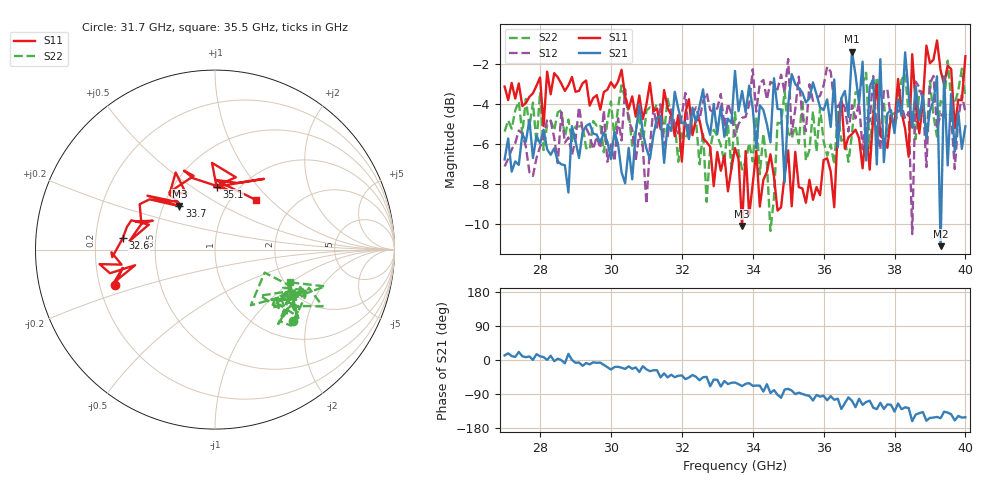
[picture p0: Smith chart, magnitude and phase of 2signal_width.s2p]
! Quiescent point : V1=-1.85712E-02 I1=+1.45512E-03 V2=-2.43790E-02 I2=-1.40423E-03
! Pulsed point : V1=-1.80026E-02 I1=+1.44484E-03 V2=-2.38785E-02 I2=-1.42689E-03
! Period : +2.00000E-04
! Input Supply timing : delay=+1.60000E-06 width=+2.20000E-06
! Output Supply timing : delay=+1.70000E-06 width=+2.00000E-06
! VNA timing : delay=+2.40000E-06 width=+1.10000E-06
# Hz S RI R 50
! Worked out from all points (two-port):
!   131 points, 27 GHz to 40 GHz, reference 50 ohm
!   highest |S21| = -1.39 dB at 36.8 GHz (marker M1); lowest = -11.1 dB at 39.3 GHz (marker M2)
!   |S21| within 3 dB of the highest: 34.99 GHz to 36.14 GHz (1.154 GHz wide, 3.24 % of centre); 36.71 GHz to 37.15 GHz (442.8 MHz wide, 1.2 % of centre)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
!   lowest |S11| = -10.1 dB at 33.7 GHz (marker M3), VSWR 1.91, Z = 30.1 + j16.2 ohm
!   |S11| at or under -10 dB: 33.69771 GHz to 33.70204 GHz (4.33 MHz wide, 0.0128 % of centre)
!   |S22| runs from -10.3 to -1.9 dB; largest |S21 - S12| = 0.38
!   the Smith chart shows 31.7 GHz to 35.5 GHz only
!   S11 on the Smith chart (normalised r, x): 31.7 GHz: 0.26, -0.16; 32.6 GHz: 0.32, +0.05; 33.7 GHz: 0.60, +0.32; 35.1 GHz: 0.79, +0.63; 35.5 GHz: 1.29, +0.82
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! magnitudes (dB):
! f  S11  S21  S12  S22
! 27 GHz  -3.1  -6.8  -7.1  -5.4
! 29.2 GHz  -3.0  -5.4  -5.3  -5.1
! 31 GHz  -4.0  -6.2  -9.0  -4.3
! 31.4 GHz  -5.3  -4.6  -4.0  -4.0
! 31.7 GHz  -4.5  -5.3  -4.3  -4.6
! 32.6 GHz  -5.7  -3.3  -3.9  -5.4
! 33.5 GHz  -6.2  -2.4  -5.6  -4.4
! 33.7 GHz  -10.1  -3.4  -4.7  -7.3
! 34.5 GHz  -6.5  -5.9  -2.9  -10.3
! 34.9 GHz  -7.5  -7.9  -3.4  -3.4
! 35.1 GHz  -9.1  -2.5  -5.5  -5.7
! 35.5 GHz  -8.9  -3.9  -5.4  -6.8
! 35.7 GHz  -8.8  -2.9  -3.8  -4.4
! 36.8 GHz  -5.5  -1.4  -4.1  -5.5
! 37.9 GHz  -4.6  -4.3  -4.8  -4.6
! 38.4 GHz  -6.6  -3.5  -4.4  -4.6
! 38.5 GHz  -1.5  -5.2  -10.5  -4.3
! 38.6 GHz  -4.1  -3.1  -2.9  -5.7
! 39.2 GHz  -0.8  -2.6  -5.2  -5.6
! 39.3 GHz  -2.3  -11.1  -4.5  -3.9
! 39.4 GHz  -3.0  -2.6  -4.7  -4.0
! 40 GHz  -1.6  -5.1  -4.4  -3.7
